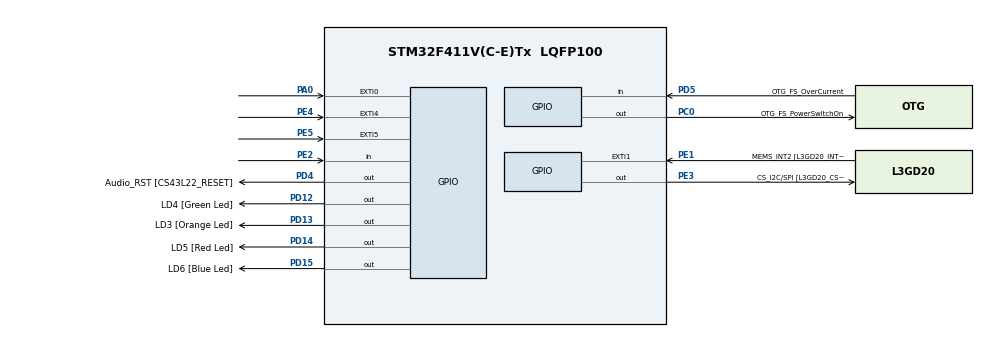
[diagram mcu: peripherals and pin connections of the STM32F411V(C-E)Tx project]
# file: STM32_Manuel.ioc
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Mcu.Family=STM32F4
Mcu.Name=STM32F411V(C-E)Tx
Mcu.Package=LQFP100
NVIC.PriorityGroup=NVIC_PRIORITYGROUP_0
PA0-WKUP.GPIO_ModeDefaultEXTI=GPIO_MODE_EVT_RISING
PA0-WKUP.Signal=GPXTI0
PA10.GPIO_Label=OTG_FS_ID
PA10.Signal=USB_OTG_FS_ID
PA11.GPIO_Label=OTG_FS_DM
PA11.Signal=USB_OTG_FS_DM
PA12.GPIO_Label=OTG_FS_DP
PA12.Signal=USB_OTG_FS_DP
PA13.GPIO_Label=SWDIO
PA13.Signal=SYS_JTMS-SWDIO
PA14.GPIO_Label=SWCLK
PA14.Signal=SYS_JTCK-SWCLK
PA4.GPIO_Label=I2S3_WS [CS43L22_LRCK]
PA4.GPIO_Mode=GPIO_MODE_AF_PP
PA4.GPIO_PuPd=GPIO_NOPULL
PA4.GPIO_Speed=GPIO_SPEED_FREQ_LOW
PA4.Signal=I2S3_WS
PA5.GPIO_Label=SPI1_SCK [L3GD20_SC/SPC]
PA5.Signal=SPI1_SCK
PA6.GPIO_Label=SPI1_MISO [L3GD20_AS0/SDO]
PA6.Signal=SPI1_MISO
PA7.GPIO_Label=SPI1_MOSI [L3GD20_SDA/SDI/SDO]
PA7.Signal=SPI1_MOSI
PA9.GPIO_Label=VBUS_FS
PA9.Signal=USB_OTG_FS_VBUS
PB10.GPIO_Label=CLK_IN [MP45DT02_CLK]
PB10.Signal=I2S2_CK
PB12.Signal=I2S2_WS
PB3.GPIO_Label=SWO
PB3.Signal=SYS_JTDO-SWO
PB6.GPIO_Label=Audio_SCL [CS43L22_SCL]
PB6.GPIO_Mode=GPIO_MODE_AF_OD
PB6.GPIO_PuPd=GPIO_NOPULL
PB6.GPIO_Speed=GPIO_SPEED_FREQ_LOW
PB6.Signal=I2C1_SCL
PB9.GPIO_Label=Audio_SDA [CS43L22_SDA]
PB9.GPIO_Mode=GPIO_MODE_AF_OD
PB9.GPIO_PuPd=GPIO_NOPULL
PB9.GPIO_Speed=GPIO_SPEED_FREQ_LOW
PB9.Signal=I2C1_SDA
PC0.GPIO_Label=OTG_FS_PowerSwitchOn
PC0.PinState=GPIO_PIN_SET
PC0.Signal=GPIO_Output
PC10.GPIO_Label=I2S3_SCK [CS43L22_SCLK]
PC10.GPIO_Mode=GPIO_MODE_AF_PP
PC10.GPIO_PuPd=GPIO_NOPULL
PC10.GPIO_Speed=GPIO_SPEED_FREQ_LOW
PC10.Signal=I2S3_CK
PC12.GPIO_Label=I2S3_SD [CS43L22_SDIN]
PC12.GPIO_Mode=GPIO_MODE_AF_PP
PC12.GPIO_PuPd=GPIO_NOPULL
PC12.GPIO_Speed=GPIO_SPEED_FREQ_LOW
PC12.Signal=I2S3_SD
PC14-OSC32_IN.GPIO_Label=PC14-OSC32_IN
PC14-OSC32_IN.Signal=RCC_OSC32_IN
PC15-OSC32_OUT.GPIO_Label=PC15-OSC32_OUT
PC15-OSC32_OUT.Signal=RCC_OSC32_OUT
PC3.GPIO_Label=PDM_OUT [MP45DT02_DOUT]
PC3.Signal=I2S2_SD
PC7.GPIO_Label=I2S3_MCK [CS43L22_MCLK]
PC7.GPIO_Mode=GPIO_MODE_AF_PP
PC7.GPIO_PuPd=GPIO_NOPULL
PC7.GPIO_Speed=GPIO_SPEED_FREQ_LOW
PC7.Signal=I2S3_MCK
PD12.GPIO_Label=LD4 [Green Led]
PD12.GPIO_PuPd=GPIO_NOPULL
PD12.GPIO_Speed=GPIO_SPEED_FREQ_LOW
PD12.Signal=GPIO_Output
PD13.GPIO_Label=LD3 [Orange Led]
PD13.GPIO_PuPd=GPIO_NOPULL
PD13.GPIO_Speed=GPIO_SPEED_FREQ_LOW
PD13.Signal=GPIO_Output
PD14.GPIO_Label=LD5 [Red Led]
PD14.GPIO_PuPd=GPIO_NOPULL
PD14.GPIO_Speed=GPIO_SPEED_FREQ_LOW
PD14.Signal=GPIO_Output
PD15.GPIO_Label=LD6 [Blue Led]
PD15.GPIO_PuPd=GPIO_NOPULL
PD15.GPIO_Speed=GPIO_SPEED_FREQ_LOW
PD15.Signal=GPIO_Output
PD4.GPIO_Label=Audio_RST [CS43L22_RESET]
PD4.Signal=GPIO_Output
PD5.GPIO_Label=OTG_FS_OverCurrent
PD5.Signal=GPIO_Input
PE1.GPIO_Label=MEMS_INT2 [L3GD20_INT2]
PE1.GPIO_ModeDefaultEXTI=GPIO_MODE_EVT_RISING
PE1.Signal=GPXTI1
PE2.Signal=GPIO_Input
PE3.GPIO_Label=CS_I2C/SPI [L3GD20_CS_I2C/SPI]
PE3.Signal=GPIO_Output
PE4.GPIO_ModeDefaultEXTI=GPIO_MODE_EVT_RISING
PE4.Signal=GPXTI4
PE5.GPIO_ModeDefaultEXTI=GPIO_MODE_EVT_RISING
PE5.Signal=GPXTI5
PH0\ -\ OSC_IN.GPIO_Label=PH0-OSC_IN
PH0\ -\ OSC_IN.Signal=RCC_OSC_IN
PH1\ -\ OSC_OUT.GPIO_Label=PH1-OSC_OUT
PH1\ -\ OSC_OUT.Signal=RCC_OSC_OUT
ProjectManager.HeapSize=0x200
ProjectManager.StackSize=0x400
ProjectManager.TargetToolchain=STM32CubeIDE
RCC.48MHZClocksFreq_Value=48000000
RCC.AHBFreq_Value=96000000
RCC.APB1CLKDivider=RCC_HCLK_DIV4
RCC.APB1Freq_Value=24000000
RCC.APB1TimFreq_Value=48000000
RCC.APB2CLKDivider=RCC_HCLK_DIV2
RCC.APB2Freq_Value=48000000
RCC.APB2TimFreq_Value=96000000
RCC.CortexFreq_Value=96000000
RCC.HCLKFreq_Value=96000000
RCC.HSE_VALUE=8000000
RCC.HSI_VALUE=16000000
RCC.LSE_VALUE=32768
RCC.PLLI2SM=5
RCC.PLLI2SN=200
RCC.PLLM=8
RCC.PLLP=RCC_PLLP_DIV4
RCC.PLLQ=8
RCC.SYSCLKFreq_VALUE=96000000
RCC.SYSCLKSource=RCC_SYSCLKSOURCE_PLLCLK
RCC.VCOOutputFreq_Value=384000000
board=STM32F411E-DISCO

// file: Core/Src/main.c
/* USER CODE BEGIN Header */
/**
  ******************************************************************************
  * @file           : main.c
  * @brief          : Main program body
  ******************************************************************************
  * @attention
  *
  * Copyright (c) 2024 STMicroelectronics.
  * All rights reserved.
  *
  * This software is licensed under terms that can be found in the LICENSE file
  * in the root directory of this software component.
  * If no LICENSE file comes with this software, it is provided AS-IS.
  *
  ******************************************************************************
  */
/* USER CODE END Header */
#include "main.h"
#include <stdio.h>
#include <stdint.h>
#include <stdbool.h>

//void SystemClock_Config(void);
//static void MX_GPIO_Init(void);

int main(void)
{

  /* USER CODE BEGIN 1 */

	int32_t n = 2+2;

	int32_t sum = n+5;

	int8_t number=1;

	 char myText[] = "Hello";
	 char Key='K';

	 bool counter=true;

  /* USER CODE END 1 */

  /* MCU Configuration--------------------------------------------------------*/

  /* Reset of all peripherals, Initializes the Flash interface and the Systick. */
  HAL_Init();

  /* Configure the system clock */
 // SystemClock_Config();

  /* Initialize all configured peripherals */
  //MX_GPIO_Init();
  /* USER CODE BEGIN 2 */

  	  clock_D();
  	  led_init();
  	//turn_on(); // çalışıyor
  /* USER CODE END 2 */

	/* Infinite loop */
	/* USER CODE BEGIN WHILE */

	while (number) {
		/* USER CODE END WHILE */

		/* USER CODE BEGIN 3 */
		//if (sum == 9)
			if (Key=='K' ) {
		 turn_on();
		 HAL_Delay(1500);
		 }

		 //turn_on();
		 //delay1(3);

		 //HAL_Delay(1500);
		number = 0;
	}

	turn_off();
	/* USER CODE END 3 */
	//turn_on();
}

/* USER CODE BEGIN 4 */

void delay1(int t2)
{
	int t1=1000000;
	int top= t1*t2;
	for(int i=0; i<top; i++)
			 {

			 }
}

 void turn_on()
{
    //LD6_Pin
	/*Configure GPIO pin Output Level */
	HAL_GPIO_WritePin(GPIOD, LD6_Pin, GPIO_PIN_SET);

}

 void turn_off()
{
    //LD6_Pin
	/*Configure GPIO pin Output Level */
	HAL_GPIO_WritePin(GPIOD, LD6_Pin, GPIO_PIN_RESET);
	HAL_GPIO_WritePin(GPIOD, LD4_Pin, GPIO_PIN_SET);
}

void clock_D()
{
	__HAL_RCC_GPIOD_CLK_ENABLE();
}

void led_init(void)
{
	 GPIO_InitTypeDef GPIO_InitStruct = {0};
	  /*Configure GPIO pins : LD4_Pin LD3_Pin LD5_Pin LD6_Pin
	                             Audio_RST_Pin */
	    GPIO_InitStruct.Pin = LD4_Pin|LD3_Pin|LD5_Pin|LD6_Pin
	                            |Audio_RST_Pin;
	    GPIO_InitStruct.Mode = GPIO_MODE_OUTPUT_PP;
	    GPIO_InitStruct.Pull = GPIO_NOPULL;
	    GPIO_InitStruct.Speed = GPIO_SPEED_FREQ_LOW;
	    HAL_GPIO_Init(GPIOD, &GPIO_InitStruct);

}
/* USER CODE END 4 */
